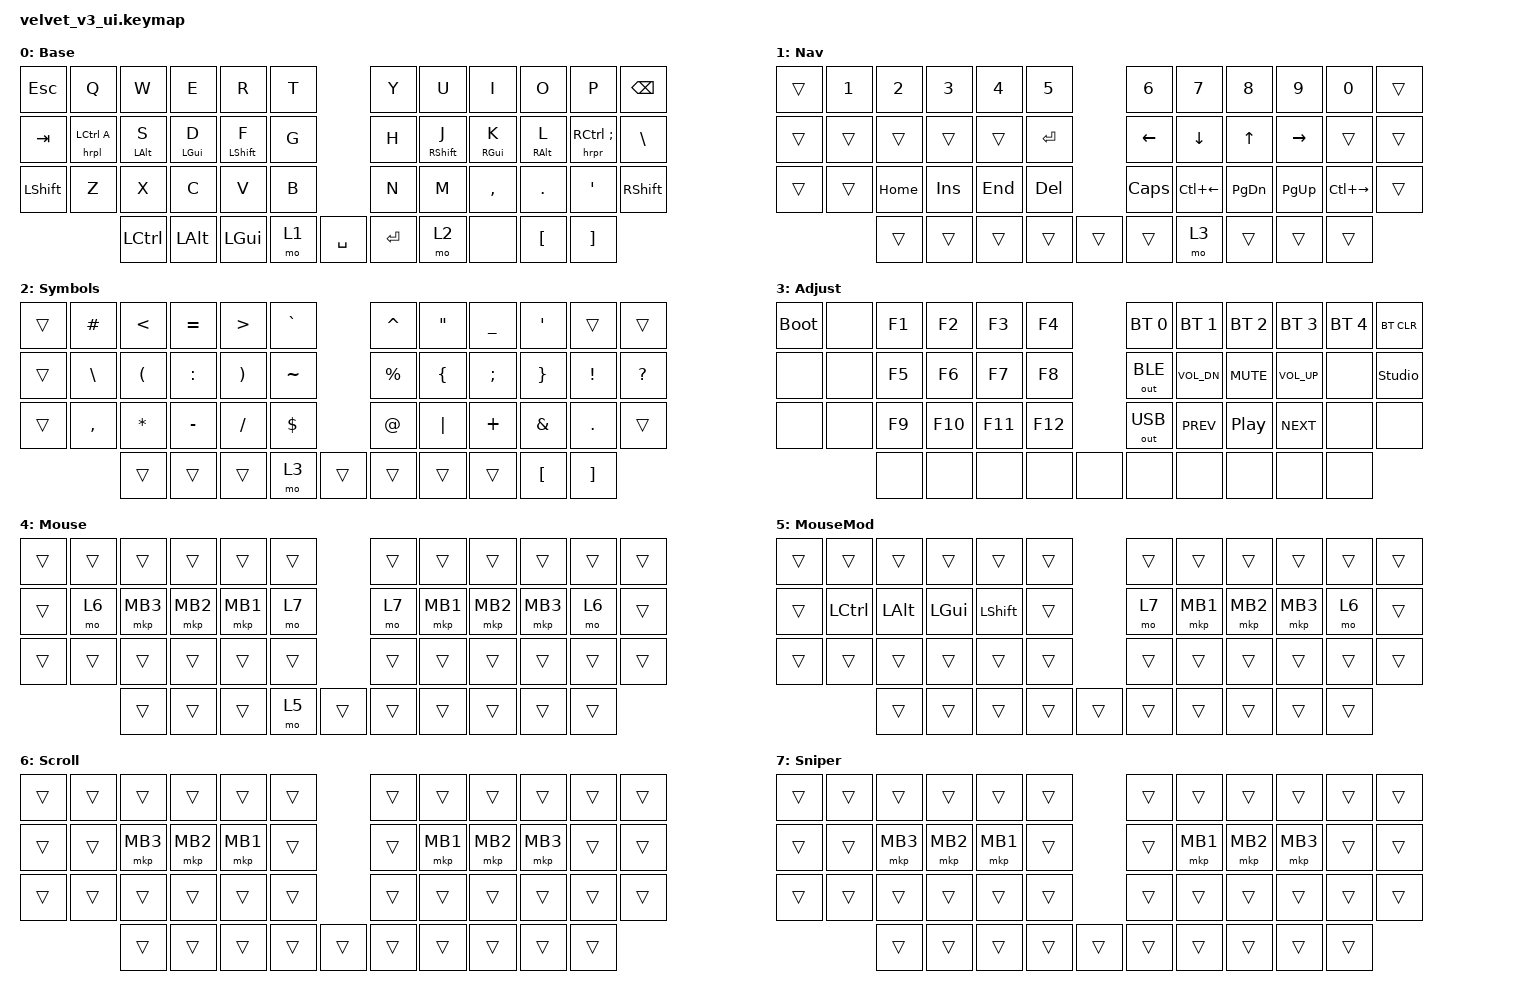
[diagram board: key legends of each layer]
#include "keys_ru.h"
#include <dt-bindings/zmk/input_transform.h>
#include <input/processors.dtsi>
#include <zephyr/dt-bindings/input/input-event-codes.h>
#include <behaviors.dtsi>
#include <dt-bindings/zmk/bt.h>
#include <dt-bindings/zmk/keys.h>
#include <dt-bindings/zmk/outputs.h>
#include <dt-bindings/zmk/pointing.h>

#define LHK 0 1 2 3 4 5 12 13 14 15 16 17 24 25 26 27 28 29 36 37
#define RHK 6 7 8 9 10 11 18 19 20 21 22 23 30 31 32 33 34 35 44 45
#define THK 38 39 40 41 42 43

#include "behaviors_common.h"

/ {
    behaviors {
        cap_sen: cap_sen {
            compatible = "zmk,behavior-hold-tap";
            label = "CAP_SEN";
            bindings = <&mo>, <&mkp>;

            #binding-cells = <2>;
            tapping-term-ms = <150>;
            hold-while-undecided;
        };

        mouse_layer: mouse_layer {
            compatible = "zmk,behavior-sticky-key";
            label = "MOUSE_LAYER";
            bindings = <&mo>;
            #binding-cells = <1>;
            release-after-ms = <200>;
        };

        zip_auto_mouse: zip_auto_mouse {
            compatible = "zmk,input-processor-temp-layer";
            #input-processor-cells = <2>;
            require-prior-idle-ms = <800>;
            excluded-positions = <>;
        };
    };

    keymap {
        compatible = "zmk,keymap";

        base {
            bindings = <
&kp ESC    &kp Q          &kp W             &kp E         &kp R          &kp T                        &kp Y  &kp U          &kp I         &kp O         &kp P             &kp BSPC
&kp TAB    &hrpl LCTRL A  &hrml LALT S      &hrml LGUI D  &hrml LSHFT F  &kp G                        &kp H  &hrmr RSHFT J  &hrmr RGUI K  &hrmr RALT L  &hrpr RCTRL SEMI  &kp BSLH
&kp LSHFT  &kp Z          &kp X             &kp C         &kp V          &kp B                        &kp N  &kp M          &kp COMMA     &kp DOT       &kp SQT           &kp RSHFT
                          &kp LEFT_CONTROL  &kp LALT      &kp LGUI       &mo 1  &kp SPACE    &kp RET  &mo 2  &none          &kp LBKT      &kp RBKT
            >;

            display-name = "Base";
        };

        nav {
            bindings = <
&trans  &kp N1  &kp N2    &kp N3   &kp N4   &kp N5                     &kp N6          &kp N7        &kp N8         &kp N9           &kp N0         &trans
&trans  &trans  &trans    &trans   &trans   &kp RET                    &kp LEFT_ARROW  &kp DOWN      &kp UP         &kp RIGHT_ARROW  &trans         &trans
&trans  &trans  &kp HOME  &kp INS  &kp END  &kp DEL                    &kp CLCK        &kp LC(LEFT)  &kp PAGE_DOWN  &kp PAGE_UP      &kp LC(RIGHT)  &trans
                &trans    &trans   &trans   &trans   &trans    &trans  &mo 3           &trans        &trans         &trans
            >;

            display-name = "Nav";
        };

        sym {
            bindings = <
&trans  &kp HASH   &kp LT    &kp EQUAL  &kp GT    &kp GRAVE                    &kp CARET  &kp DQT   &kp UNDER         &kp SQT            &trans    &trans
&trans  &kp BSLH   &kp LPAR  &kp COLON  &kp RPAR  &kp TILDE                    &kp PRCNT  &kp LBRC  &kp SEMI          &kp RBRC           &kp EXCL  &kp QUESTION
&trans  &kp COMMA  &kp STAR  &kp MINUS  &kp FSLH  &kp DLLR                     &kp AT     &kp PIPE  &kp PLUS          &kp AMPS           &kp DOT   &trans
                   &trans    &trans     &trans    &mo 3      &trans    &trans  &trans     &trans    &kp LEFT_BRACKET  &kp RIGHT_BRACKET
            >;

            display-name = "Symbols";
        };

        adj {
            bindings = <
&bootloader  &none  &kp F1  &kp F2   &kp F3   &kp F4                   &bt BT_SEL 0  &bt BT_SEL 1  &bt BT_SEL 2      &bt BT_SEL 3  &bt BT_SEL 4  &bt BT_CLR
&none        &none  &kp F5  &kp F6   &kp F7   &kp F8                   &out OUT_BLE  &kp C_VOL_DN  &kp C_MUTE        &kp C_VOL_UP  &none         &studio_unlock
&none        &none  &kp F9  &kp F10  &kp F11  &kp F12                  &out OUT_USB  &kp C_PREV    &kp C_PLAY_PAUSE  &kp C_NEXT    &none         &none
                    &none   &none    &none    &none    &none    &none  &none         &none         &none             &none
            >;

            display-name = "Adjust";
        };

        mouse {
            bindings = <
&trans  &trans  &trans    &trans    &trans    &trans                    &trans  &trans    &trans    &trans    &trans  &trans
&trans  &mo 6   &mkp MB3  &mkp MB2  &mkp MB1  &mo 7                     &mo 7   &mkp MB1  &mkp MB2  &mkp MB3  &mo 6   &trans
&trans  &trans  &trans    &trans    &trans    &trans                    &trans  &trans    &trans    &trans    &trans  &trans
                &trans    &trans    &trans    &mo 5   &trans    &trans  &trans  &trans    &trans    &trans
            >;

            display-name = "Mouse";
        };

        mousemod {
            bindings = <
&trans  &trans     &trans    &trans    &trans     &trans                    &trans  &trans    &trans    &trans    &trans  &trans
&trans  &kp LCTRL  &kp LALT  &kp LGUI  &kp LSHFT  &trans                    &mo 7   &mkp MB1  &mkp MB2  &mkp MB3  &mo 6   &trans
&trans  &trans     &trans    &trans    &trans     &trans                    &trans  &trans    &trans    &trans    &trans  &trans
                   &trans    &trans    &trans     &trans  &trans    &trans  &trans  &trans    &trans    &trans
            >;

            display-name = "MouseMod";
        };

        scroll {
            bindings = <
&trans  &trans  &trans    &trans    &trans    &trans                    &trans  &trans    &trans    &trans    &trans  &trans
&trans  &trans  &mkp MB3  &mkp MB2  &mkp MB1  &trans                    &trans  &mkp MB1  &mkp MB2  &mkp MB3  &trans  &trans
&trans  &trans  &trans    &trans    &trans    &trans                    &trans  &trans    &trans    &trans    &trans  &trans
                &trans    &trans    &trans    &trans  &trans    &trans  &trans  &trans    &trans    &trans
            >;

            display-name = "Scroll";
        };

        sniper {
            bindings = <
&trans  &trans  &trans    &trans    &trans    &trans                    &trans  &trans    &trans    &trans    &trans  &trans
&trans  &trans  &mkp MB3  &mkp MB2  &mkp MB1  &trans                    &trans  &mkp MB1  &mkp MB2  &mkp MB3  &trans  &trans
&trans  &trans  &trans    &trans    &trans    &trans                    &trans  &trans    &trans    &trans    &trans  &trans
                &trans    &trans    &trans    &trans  &trans    &trans  &trans  &trans    &trans    &trans
            >;

            display-name = "Sniper";
        };
    };
};

&trackball { cpi = <800>; };

&trackball_listener {
    input-processors = <&zip_auto_mouse 4 500>, <&zip_xy_scaler 9 20>;

    scroller {
        layers = <6>;
        input-processors =
            <&zip_xy_transform INPUT_TRANSFORM_Y_INVERT>,
            <&zip_xy_scaler 1 32>,
            <&zip_xy_to_scroll_mapper>;
    };

    sniper {
        layers = <7>;
        input-processors = <&zip_xy_scaler 1 4>;
    };
};
